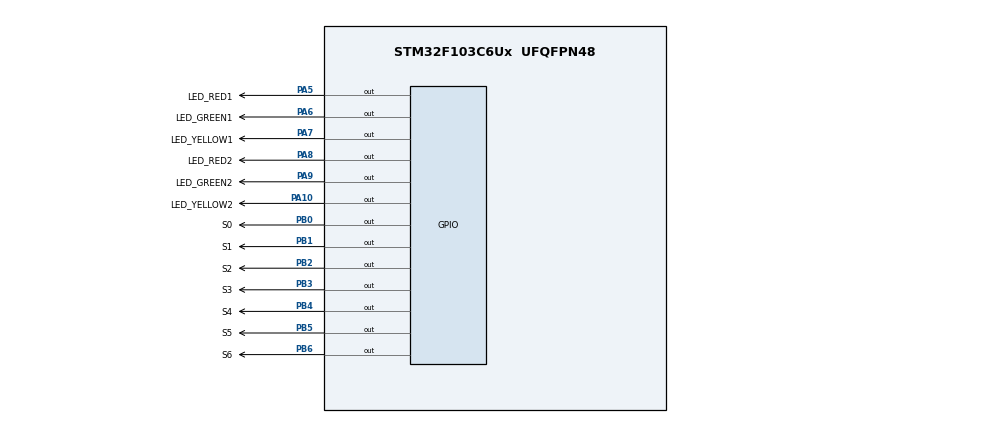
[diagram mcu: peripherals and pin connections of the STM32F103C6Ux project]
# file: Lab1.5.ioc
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Mcu.Family=STM32F1
Mcu.Name=STM32F103C6Ux
Mcu.Package=UFQFPN48
NVIC.PriorityGroup=NVIC_PRIORITYGROUP_4
PA10.GPIO_Label=LED_YELLOW2
PA10.Signal=GPIO_Output
PA5.GPIO_Label=LED_RED1
PA5.Signal=GPIO_Output
PA6.GPIO_Label=LED_GREEN1
PA6.Signal=GPIO_Output
PA7.GPIO_Label=LED_YELLOW1
PA7.Signal=GPIO_Output
PA8.GPIO_Label=LED_RED2
PA8.Signal=GPIO_Output
PA9.GPIO_Label=LED_GREEN2
PA9.Signal=GPIO_Output
PB0.GPIO_Label=S0
PB0.Signal=GPIO_Output
PB1.GPIO_Label=S1
PB1.Signal=GPIO_Output
PB2.GPIO_Label=S2
PB2.Signal=GPIO_Output
PB3.GPIO_Label=S3
PB3.Signal=GPIO_Output
PB4.GPIO_Label=S4
PB4.Signal=GPIO_Output
PB5.GPIO_Label=S5
PB5.Signal=GPIO_Output
PB6.GPIO_Label=S6
PB6.Signal=GPIO_Output
ProjectManager.HeapSize=0x200
ProjectManager.StackSize=0x400
ProjectManager.TargetToolchain=STM32CubeIDE
RCC.APB1Freq_Value=8000000
RCC.APB2Freq_Value=8000000
VP_SYS_VS_ND.Mode=No_Debug
board=custom

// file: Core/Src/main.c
/* USER CODE BEGIN Header */
/**
  ******************************************************************************
  * @file           : main.c
  * @brief          : Main program body
  ******************************************************************************
  * @attention
  *
  * <h2><center>&copy; Copyright (c) 2022 STMicroelectronics.
  * All rights reserved.</center></h2>
  *
  * This software component is licensed by ST under BSD 3-Clause license,
  * the "License"; You may not use this file except in compliance with the
  * License. You may obtain a copy of the License at:
  *                        opensource.org/licenses/BSD-3-Clause
  *
  ******************************************************************************
  */
/* USER CODE END Header */
#include "main.h"

void SystemClock_Config(void);
static void MX_GPIO_Init(void);

void display7SEG(int num)
{
	switch(num)
	{
	case 0:
	HAL_GPIO_WritePin ( S0_GPIO_Port, S0_Pin, RESET);
	HAL_GPIO_WritePin ( S1_GPIO_Port, S1_Pin, RESET);
	HAL_GPIO_WritePin ( S2_GPIO_Port, S2_Pin, RESET);
	HAL_GPIO_WritePin ( S3_GPIO_Port, S3_Pin, RESET);
	HAL_GPIO_WritePin ( S4_GPIO_Port, S4_Pin, RESET);
	HAL_GPIO_WritePin ( S5_GPIO_Port, S5_Pin, RESET);
	HAL_GPIO_WritePin ( S6_GPIO_Port, S6_Pin, SET);
	break;
	case 1:
	HAL_GPIO_WritePin ( S0_GPIO_Port, S0_Pin, SET);
	HAL_GPIO_WritePin ( S1_GPIO_Port, S1_Pin, RESET);
	HAL_GPIO_WritePin ( S2_GPIO_Port, S2_Pin, RESET);
	HAL_GPIO_WritePin ( S3_GPIO_Port, S3_Pin, SET);
	HAL_GPIO_WritePin ( S4_GPIO_Port, S4_Pin, SET);
	HAL_GPIO_WritePin ( S5_GPIO_Port, S5_Pin, SET);
	HAL_GPIO_WritePin ( S6_GPIO_Port, S6_Pin, SET);
	break;
	case 2:
	HAL_GPIO_WritePin ( S0_GPIO_Port, S0_Pin, RESET);
	HAL_GPIO_WritePin ( S1_GPIO_Port, S1_Pin, RESET);
	HAL_GPIO_WritePin ( S2_GPIO_Port, S2_Pin, SET);
	HAL_GPIO_WritePin ( S3_GPIO_Port, S3_Pin, RESET);
	HAL_GPIO_WritePin ( S4_GPIO_Port, S4_Pin, RESET);
	HAL_GPIO_WritePin ( S5_GPIO_Port, S5_Pin, SET);
	HAL_GPIO_WritePin ( S6_GPIO_Port, S6_Pin, RESET);
	break;
	case 3:
	HAL_GPIO_WritePin ( S0_GPIO_Port, S0_Pin, RESET);
	HAL_GPIO_WritePin ( S1_GPIO_Port, S1_Pin, RESET);
	HAL_GPIO_WritePin ( S2_GPIO_Port, S2_Pin, RESET);
	HAL_GPIO_WritePin ( S3_GPIO_Port, S3_Pin, RESET);
	HAL_GPIO_WritePin ( S4_GPIO_Port, S4_Pin, SET);
	HAL_GPIO_WritePin ( S5_GPIO_Port, S5_Pin, SET);
	HAL_GPIO_WritePin ( S6_GPIO_Port, S6_Pin, RESET);
	break;
	case 4:
	HAL_GPIO_WritePin ( S0_GPIO_Port, S0_Pin, SET);
	HAL_GPIO_WritePin ( S1_GPIO_Port, S1_Pin, RESET);
	HAL_GPIO_WritePin ( S2_GPIO_Port, S2_Pin, RESET);
	HAL_GPIO_WritePin ( S3_GPIO_Port, S3_Pin, SET);
	HAL_GPIO_WritePin ( S4_GPIO_Port, S4_Pin, SET);
	HAL_GPIO_WritePin ( S5_GPIO_Port, S5_Pin, RESET);
	HAL_GPIO_WritePin ( S6_GPIO_Port, S6_Pin, RESET);
	break;
	case 5:
	HAL_GPIO_WritePin ( S0_GPIO_Port, S0_Pin, RESET);
	HAL_GPIO_WritePin ( S1_GPIO_Port, S1_Pin, SET);
	HAL_GPIO_WritePin ( S2_GPIO_Port, S2_Pin, RESET);
	HAL_GPIO_WritePin ( S3_GPIO_Port, S3_Pin, RESET);
	HAL_GPIO_WritePin ( S4_GPIO_Port, S4_Pin, SET);
	HAL_GPIO_WritePin ( S5_GPIO_Port, S5_Pin, RESET);
	HAL_GPIO_WritePin ( S6_GPIO_Port, S6_Pin, RESET);
	break;
	case 6:
	HAL_GPIO_WritePin ( S0_GPIO_Port, S0_Pin, RESET);
	HAL_GPIO_WritePin ( S1_GPIO_Port, S1_Pin, SET);
	HAL_GPIO_WritePin ( S2_GPIO_Port, S2_Pin, RESET);
	HAL_GPIO_WritePin ( S3_GPIO_Port, S3_Pin, RESET);
	HAL_GPIO_WritePin ( S4_GPIO_Port, S4_Pin, RESET);
	HAL_GPIO_WritePin ( S5_GPIO_Port, S5_Pin, RESET);
	HAL_GPIO_WritePin ( S6_GPIO_Port, S6_Pin, RESET);
	break;
	case 7:
	HAL_GPIO_WritePin ( S0_GPIO_Port, S0_Pin, RESET);
	HAL_GPIO_WritePin ( S1_GPIO_Port, S1_Pin, RESET);
	HAL_GPIO_WritePin ( S2_GPIO_Port, S2_Pin, RESET);
	HAL_GPIO_WritePin ( S3_GPIO_Port, S3_Pin, SET);
	HAL_GPIO_WritePin ( S4_GPIO_Port, S4_Pin, SET);
	HAL_GPIO_WritePin ( S5_GPIO_Port, S5_Pin, SET);
	HAL_GPIO_WritePin ( S6_GPIO_Port, S6_Pin, SET);
	break;
	case 8:
	HAL_GPIO_WritePin ( S0_GPIO_Port, S0_Pin, RESET);
	HAL_GPIO_WritePin ( S1_GPIO_Port, S1_Pin, RESET);
	HAL_GPIO_WritePin ( S2_GPIO_Port, S2_Pin, RESET);
	HAL_GPIO_WritePin ( S3_GPIO_Port, S3_Pin, RESET);
	HAL_GPIO_WritePin ( S4_GPIO_Port, S4_Pin, RESET);
	HAL_GPIO_WritePin ( S5_GPIO_Port, S5_Pin, RESET);
	HAL_GPIO_WritePin ( S6_GPIO_Port, S6_Pin, RESET);
	break;
	default:
	HAL_GPIO_WritePin ( S0_GPIO_Port, S0_Pin, RESET);
	HAL_GPIO_WritePin ( S1_GPIO_Port, S1_Pin, RESET);
	HAL_GPIO_WritePin ( S2_GPIO_Port, S2_Pin, RESET);
	HAL_GPIO_WritePin ( S3_GPIO_Port, S3_Pin, RESET);
	HAL_GPIO_WritePin ( S4_GPIO_Port, S4_Pin, SET);
	HAL_GPIO_WritePin ( S5_GPIO_Port, S5_Pin, RESET);
	HAL_GPIO_WritePin ( S6_GPIO_Port, S6_Pin, RESET);
	}
}
int main(void)
{

  /* MCU Configuration--------------------------------------------------------*/

  /* Reset of all peripherals, Initializes the Flash interface and the Systick. */
  HAL_Init();

  /* Configure the system clock */
  SystemClock_Config();

  /* Initialize all configured peripherals */
  MX_GPIO_Init();

  /* Infinite loop */
  /* USER CODE BEGIN WHILE */
  int red1 = 6;
  int yellow1 = 2;
  int green1 = 4;
  int red2 = 5;
  int yellow2 = 3;
  int green2 = 4;

  HAL_GPIO_WritePin(LED_RED1_GPIO_Port, LED_RED1_Pin, SET);
  HAL_GPIO_WritePin(LED_YELLOW1_GPIO_Port, LED_YELLOW1_Pin, SET);
  HAL_GPIO_WritePin(LED_GREEN1_GPIO_Port, LED_GREEN1_Pin, SET);
  HAL_GPIO_WritePin(LED_RED2_GPIO_Port, LED_RED2_Pin, SET);
  HAL_GPIO_WritePin(LED_YELLOW2_GPIO_Port, LED_YELLOW2_Pin, SET);
  HAL_GPIO_WritePin(LED_GREEN2_GPIO_Port, LED_GREEN2_Pin, SET);

  while (1)
  {
	  if (red1>0)
	  	  {
	  		  HAL_GPIO_WritePin(LED_YELLOW1_GPIO_Port, LED_YELLOW1_Pin, SET);
	  		  HAL_GPIO_WritePin(LED_RED1_GPIO_Port, LED_RED1_Pin, RESET);
	  		  red1--;
	  		  display7SEG(red1);
	  	  }
	  	  if (red1==0 && green1>0)
	  	  {
	  		  HAL_GPIO_WritePin(LED_RED1_GPIO_Port, LED_RED1_Pin, SET);
	  		  HAL_GPIO_WritePin(LED_GREEN1_GPIO_Port, LED_GREEN1_Pin, RESET);
	  		  green1--;
	  		  display7SEG(green1);
	  	  }
	  	  if (green1==0 && yellow1>0)
	  	  {
	  		  HAL_GPIO_WritePin(LED_GREEN1_GPIO_Port, LED_GREEN1_Pin, SET);
	  		  HAL_GPIO_WritePin(LED_YELLOW1_GPIO_Port, LED_YELLOW1_Pin, RESET);
	  		  display7SEG(yellow1);
	  		  yellow1--;
	  		  if (yellow1==0)
	  		  {
	  			  red1=6;
	  			  green1=4;
	  			  yellow1=2;
	  		  }
	  	  }
	  	  if (green2 > 0)
	  	  {
	  		  HAL_GPIO_WritePin(LED_RED2_GPIO_Port, LED_RED2_Pin, SET);
	  		  HAL_GPIO_WritePin(LED_GREEN2_GPIO_Port, LED_GREEN2_Pin, RESET);
	  		  green2--;
	  	  }
	  	  if (green2==0 && yellow2>0)
	  	  {
	  		  HAL_GPIO_WritePin(LED_GREEN2_GPIO_Port, LED_GREEN2_Pin, SET);
	  		  HAL_GPIO_WritePin(LED_YELLOW2_GPIO_Port, LED_YELLOW2_Pin, RESET);
	  		  yellow2--;
	  	  }
	  	  if (yellow2==0 && red2>0)
	  	  {
	  		  HAL_GPIO_WritePin(LED_YELLOW2_GPIO_Port, LED_YELLOW2_Pin, SET);
	  		  HAL_GPIO_WritePin(LED_RED2_GPIO_Port, LED_RED2_Pin, RESET);
	  		  red2--;
	  		  if (red2==0)
	  		  {
	  			  green2=4;
	  			  yellow2=3;
	  			  red2=5;
	  		  }
	  	  }
	  HAL_Delay(500);
    /* USER CODE END WHILE */

  }
}

void SystemClock_Config(void)
{
  RCC_OscInitTypeDef RCC_OscInitStruct = {0};
  RCC_ClkInitTypeDef RCC_ClkInitStruct = {0};

  /** Initializes the RCC Oscillators according to the specified parameters
  * in the RCC_OscInitTypeDef structure.
  */
  RCC_OscInitStruct.OscillatorType = RCC_OSCILLATORTYPE_HSI;
  RCC_OscInitStruct.HSIState = RCC_HSI_ON;
  RCC_OscInitStruct.HSICalibrationValue = RCC_HSICALIBRATION_DEFAULT;
  RCC_OscInitStruct.PLL.PLLState = RCC_PLL_NONE;
  if (HAL_RCC_OscConfig(&RCC_OscInitStruct) != HAL_OK)
  {
    Error_Handler();
  }
  /** Initializes the CPU, AHB and APB buses clocks
  */
  RCC_ClkInitStruct.ClockType = RCC_CLOCKTYPE_HCLK|RCC_CLOCKTYPE_SYSCLK
                              |RCC_CLOCKTYPE_PCLK1|RCC_CLOCKTYPE_PCLK2;
  RCC_ClkInitStruct.SYSCLKSource = RCC_SYSCLKSOURCE_HSI;
  RCC_ClkInitStruct.AHBCLKDivider = RCC_SYSCLK_DIV1;
  RCC_ClkInitStruct.APB1CLKDivider = RCC_HCLK_DIV1;
  RCC_ClkInitStruct.APB2CLKDivider = RCC_HCLK_DIV1;

  if (HAL_RCC_ClockConfig(&RCC_ClkInitStruct, FLASH_LATENCY_0) != HAL_OK)
  {
    Error_Handler();
  }
}

static void MX_GPIO_Init(void)
{
  GPIO_InitTypeDef GPIO_InitStruct = {0};

  /* GPIO Ports Clock Enable */
  __HAL_RCC_GPIOA_CLK_ENABLE();
  __HAL_RCC_GPIOB_CLK_ENABLE();

  /*Configure GPIO pin Output Level */
  HAL_GPIO_WritePin(GPIOA, LED_RED1_Pin|LED_GREEN1_Pin|LED_YELLOW1_Pin|LED_RED2_Pin
                          |LED_GREEN2_Pin|LED_YELLOW2_Pin, GPIO_PIN_RESET);

  /*Configure GPIO pin Output Level */
  HAL_GPIO_WritePin(GPIOB, S0_Pin|S1_Pin|S2_Pin|S3_Pin
                          |S4_Pin|S5_Pin|S6_Pin, GPIO_PIN_RESET);

  /*Configure GPIO pins : LED_RED1_Pin LED_GREEN1_Pin LED_YELLOW1_Pin LED_RED2_Pin
                           LED_GREEN2_Pin LED_YELLOW2_Pin */
  GPIO_InitStruct.Pin = LED_RED1_Pin|LED_GREEN1_Pin|LED_YELLOW1_Pin|LED_RED2_Pin
                          |LED_GREEN2_Pin|LED_YELLOW2_Pin;
  GPIO_InitStruct.Mode = GPIO_MODE_OUTPUT_PP;
  GPIO_InitStruct.Pull = GPIO_NOPULL;
  GPIO_InitStruct.Speed = GPIO_SPEED_FREQ_LOW;
  HAL_GPIO_Init(GPIOA, &GPIO_InitStruct);

  /*Configure GPIO pins : S0_Pin S1_Pin S2_Pin S3_Pin
                           S4_Pin S5_Pin S6_Pin */
  GPIO_InitStruct.Pin = S0_Pin|S1_Pin|S2_Pin|S3_Pin
                          |S4_Pin|S5_Pin|S6_Pin;
  GPIO_InitStruct.Mode = GPIO_MODE_OUTPUT_PP;
  GPIO_InitStruct.Pull = GPIO_NOPULL;
  GPIO_InitStruct.Speed = GPIO_SPEED_FREQ_LOW;
  HAL_GPIO_Init(GPIOB, &GPIO_InitStruct);

}

void Error_Handler(void)
{
  __disable_irq();
  while (1)
  {
  }
}

/************************ (C) COPYRIGHT STMicroelectronics *****END OF FILE****/
